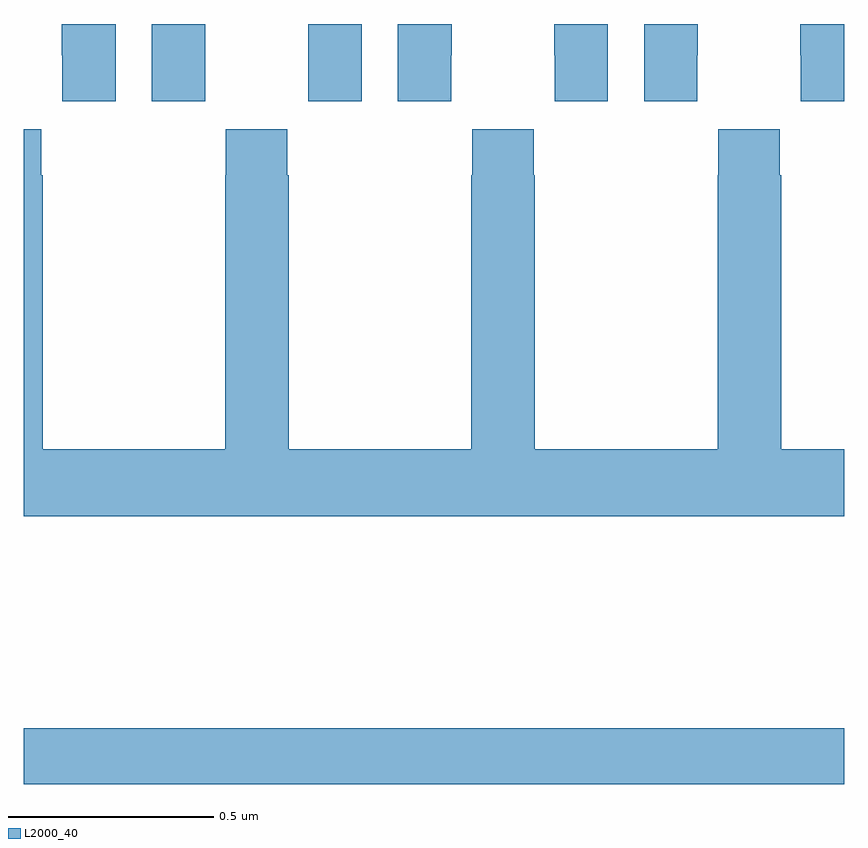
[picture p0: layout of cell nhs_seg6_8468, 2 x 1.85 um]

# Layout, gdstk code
import gdstk
lib = gdstk.Library(unit=1e-6, precision=1e-09)
def R(c, l, rs):  # rectangles x0, y0, x1, y1
    for r in rs: c.add(gdstk.rectangle(r[:2], r[2:], *l))
def P(c, l, *ps):  # polygons
    for p in ps: c.add(gdstk.Polygon(p, *l))
L2000_40 = (2000, 40)

nhs_seg6_8468 = lib.new_cell('nhs_seg6_8468')
R(nhs_seg6_8468, L2000_40, [(221,982.648,223,982.784)])
P(nhs_seg6_8468, L2000_40, [(222.424,984.5),(222.293,984.5),(222.293,984.424),(222.294,984.424),(222.294,984.312),(222.424,984.312)],
  [(222.642,984.424),(222.643,984.424),(222.643,984.5),(222.512,984.5),(222.512,984.312),(222.642,984.312)],
  [(223,984.5),(222.893,984.5),(222.893,984.424),(222.894,984.424),(222.894,984.312),(223,984.312)],
  [(221.224,984.5),(221.093,984.5),(221.093,984.424),(221.094,984.424),(221.094,984.312),(221.224,984.312)],
  [(221.442,984.424),(221.443,984.424),(221.443,984.5),(221.312,984.5),(221.312,984.312),(221.442,984.312)],
  [(221.824,984.5),(221.693,984.5),(221.693,984.424),(221.694,984.424),(221.694,984.312),(221.824,984.312)],
  [(222.042,984.424),(222.043,984.424),(222.043,984.5),(221.912,984.5),(221.912,984.312),(222.042,984.312)],
  [(223,983.464),(222.846,983.464),(222.846,984.131),(222.843,984.131),(222.843,984.244),(222.693,984.244),(222.693,984.131),(222.691,984.131),(222.691,983.464),(222.246,983.464),(222.246,984.131),(222.243,984.131),(222.243,984.244),(222.093,984.244),(222.093,984.131),(222.091,984.131),(222.091,983.464),(221.646,983.464),(221.646,984.131),(221.643,984.131),(221.643,984.244),(221.493,984.244),(221.493,984.131),(221.491,984.131),(221.491,983.464),(221.046,983.464),(221.046,984.131),(221.043,984.131),(221.043,984.244),(221,984.244),(221,983.3),(223,983.3)])

lib.write_gds('nhs_seg6_8468.gds')
